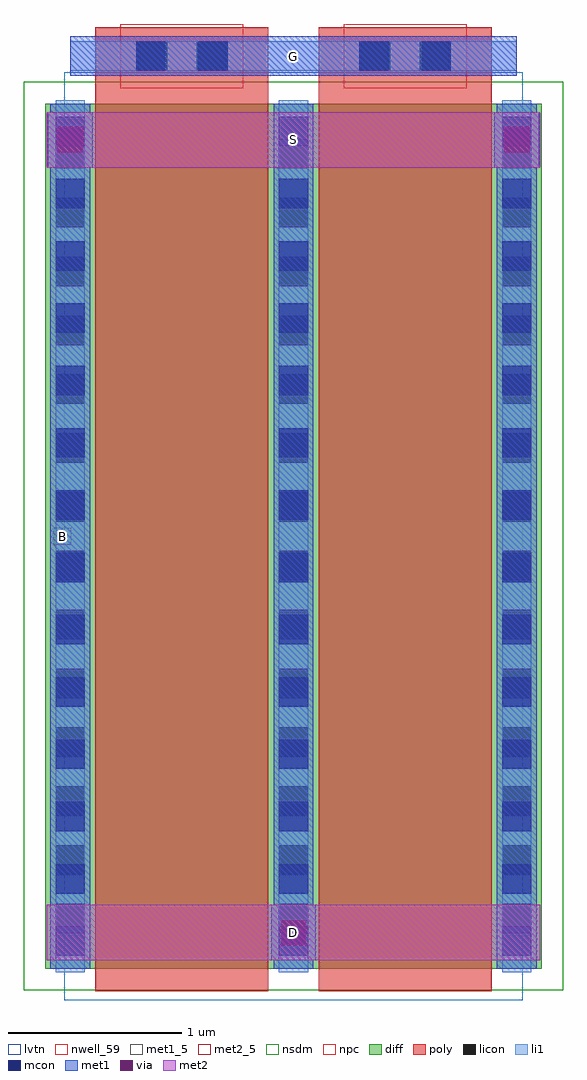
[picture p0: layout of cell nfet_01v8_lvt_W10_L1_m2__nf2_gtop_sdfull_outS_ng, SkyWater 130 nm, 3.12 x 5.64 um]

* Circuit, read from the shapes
.subckt nfet_01v8_lvt_W10_L1_m2__nf2_gtop_sdfull_outS_ng B D G S
XM1 D G S B sky130_fd_pr__nfet_01v8_lvt w=5 l=1 m=2
.ends

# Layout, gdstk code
import gdstk
lib = gdstk.Library(unit=1e-6, precision=1e-09)
def R(c, l, rs):  # rectangles x0, y0, x1, y1
    for r in rs: c.add(gdstk.rectangle(r[:2], r[2:], *l))
def A(c, l, x, y, w, h, nx, ny, dx, dy):  # array of equal rectangles
    R(c, l, [(x+i*dx, y+j*dy, x+i*dx+w, y+j*dy+h) for i in range(nx) for j in range(ny)])
nwell_59 = (64, 59)
diff = (65, 20)
poly = (66, 20)
licon = (66, 44)
li1 = (67, 20)
mcon = (67, 44)
met1_5 = (68, 5)
met1 = (68, 20)
via = (68, 44)
met2_5 = (69, 5)
met2 = (69, 20)
nsdm = (93, 44)
npc = (95, 20)
lvtn = (125, 44)

sky130_fd_pr__nfet_01v8_ = lib.new_cell('sky130_fd_pr__nfet_01v8_lvt_T3WZVG')
R(sky130_fd_pr__nfet_01v8_, diff, [(-1.435,-2.655,1.435,2.345)])
R(sky130_fd_pr__nfet_01v8_, poly, [(-1.145,-2.785,-0.145,2.785), (0.145,-2.785,1.145,2.785)])
A(sky130_fd_pr__nfet_01v8_, licon, -1.375, -2.45, 0.17, 0.17, 3, 14, 1.29, 0.34)
R(sky130_fd_pr__nfet_01v8_, licon, [(-0.9,2.535,-0.73,2.705), (-0.56,2.535,-0.39,2.705), (0.39,2.535,0.56,2.705), (0.73,2.535,0.9,2.705)])
A(sky130_fd_pr__nfet_01v8_, li1, -1.375, -2.675, 0.17, 5.04, 3, 1, 1.29, 0)
R(sky130_fd_pr__nfet_01v8_, li1, [(-1.29,2.535,1.29,2.705)])
A(sky130_fd_pr__nfet_01v8_, mcon, -1.375, -2.58, 0.17, 0.17, 3, 14, 1.29, 0.36)
R(sky130_fd_pr__nfet_01v8_, mcon, [(-0.91,2.535,-0.74,2.705), (-0.55,2.535,-0.38,2.705), (0.38,2.535,0.55,2.705), (0.74,2.535,0.91,2.705)])
A(sky130_fd_pr__nfet_01v8_, met1, -1.405, -2.655, 0.23, 5, 3, 1, 1.29, 0)
R(sky130_fd_pr__nfet_01v8_, met1, [(-1.125,2.505,-0.165,2.535), (0.165,2.505,1.125,2.535), (-1.29,2.535,1.29,2.705), (-1.125,2.705,-0.165,2.735), (0.165,2.705,1.125,2.735)])
R(sky130_fd_pr__nfet_01v8_, nsdm, [(-1.56,-2.78,1.56,2.47)])
R(sky130_fd_pr__nfet_01v8_, npc, [(-1,2.435,-0.29,2.805), (0.29,2.435,1,2.805)])
R(sky130_fd_pr__nfet_01v8_, lvtn, [(-1.325,-2.835,1.325,2.525)])
sky130_fd_pr__nfet_01v8_.add(gdstk.Label('D0', (-1.29,-0.155), layer=67, texttype=5))
sky130_fd_pr__nfet_01v8_.add(gdstk.Label('G', (0.645,2.62), layer=67, texttype=5))
sky130_fd_pr__nfet_01v8_.add(gdstk.Label('G', (-0.645,2.62), layer=67, texttype=5))
sky130_fd_pr__nfet_01v8_.add(gdstk.Label('S1', (0,-0.155), layer=67, texttype=5))

nfet_01v8_lvt_w10_l1_m2_ = lib.new_cell('nfet_01v8_lvt_W10_L1_m2__nf2_gtop_sdfull_outS_ng')
R(nfet_01v8_lvt_w10_l1_m2_, nwell_59, [(0.05,2.58,0.15,2.68)])
R(nfet_01v8_lvt_w10_l1_m2_, met1_5, [(0.145,5.29,2.725,5.52)])
R(nfet_01v8_lvt_w10_l1_m2_, met1, [(1.305,0.18,1.565,0.5), (0.015,4.76,0.275,5.08), (2.595,4.76,2.855,5.08), (0.145,5.29,2.725,5.52)])
R(nfet_01v8_lvt_w10_l1_m2_, via, [(1.36,0.265,1.51,0.415), (0.07,4.845,0.22,4.995), (2.65,4.845,2.8,4.995)])
R(nfet_01v8_lvt_w10_l1_m2_, met2_5, [(0.01,0.18,2.86,0.5), (0.01,4.76,2.86,5.08)])
R(nfet_01v8_lvt_w10_l1_m2_, met2, [(0.01,0.18,2.86,0.5), (0.01,4.76,2.86,5.08)])
nfet_01v8_lvt_w10_l1_m2_.add(gdstk.Reference(sky130_fd_pr__nfet_01v8_, (1.435,2.785)))
nfet_01v8_lvt_w10_l1_m2_.add(gdstk.Label('S', (1.435,4.92), layer=69, texttype=5))
nfet_01v8_lvt_w10_l1_m2_.add(gdstk.Label('D', (1.435,0.34), layer=69, texttype=5))
nfet_01v8_lvt_w10_l1_m2_.add(gdstk.Label('G', (1.435,5.405), layer=68, texttype=5))
nfet_01v8_lvt_w10_l1_m2_.add(gdstk.Label('B', (0.1,2.63), layer=64, texttype=59))

lib.write_gds('nfet_01v8_lvt_W10_L1_m2__nf2_gtop_sdfull_outS_ng.gds')
